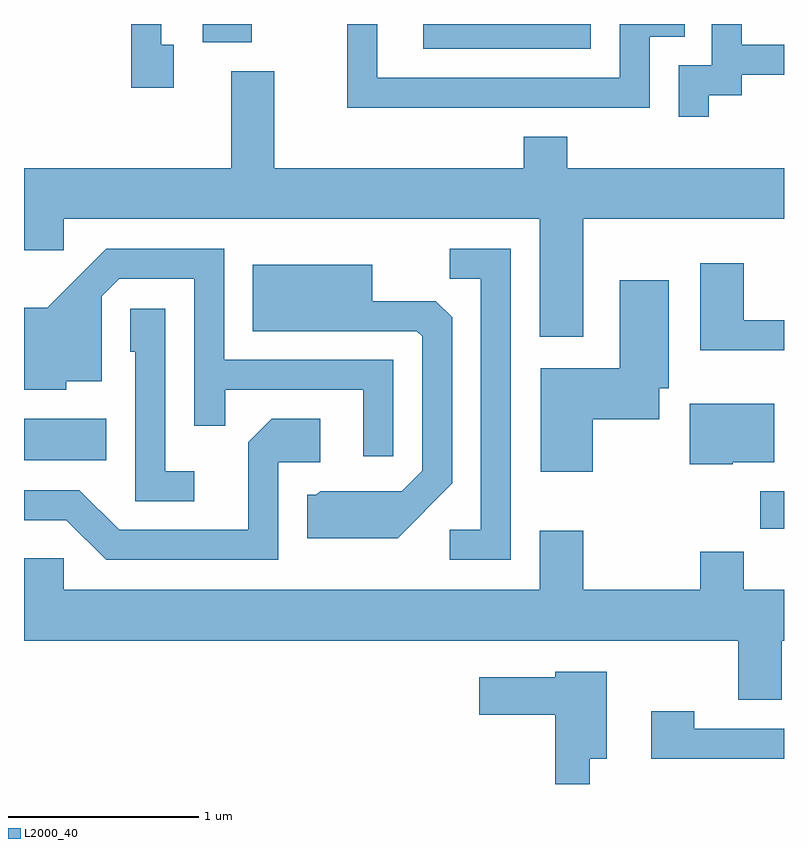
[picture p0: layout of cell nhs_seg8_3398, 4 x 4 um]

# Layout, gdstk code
import gdstk
lib = gdstk.Library(unit=1e-6, precision=1e-09)
def R(c, l, rs):  # rectangles x0, y0, x1, y1
    for r in rs: c.add(gdstk.rectangle(r[:2], r[2:], *l))
def P(c, l, *ps):  # polygons
    for p in ps: c.add(gdstk.Polygon(p, *l))
L2000_40 = (2000, 40)

nhs_seg8_3398 = lib.new_cell('nhs_seg8_3398')
R(nhs_seg8_3398, L2000_40, [(291.486,1823.686,291.611,1823.884), (287.611,1824.046,288.044,1824.264), (289.713,1826.211,290.594,1826.342), (288.551,1826.246,288.809,1826.342)])
P(nhs_seg8_3398, L2000_40, [(291.214,1825.966),(291.389,1825.966),(291.389,1826.076),(291.611,1826.076),(291.611,1826.234),(291.389,1826.234),(291.389,1826.342),(291.231,1826.342),(291.231,1826.124),(291.056,1826.124),(291.056,1825.853),(291.214,1825.853)],
  [(290.904,1826.276),(291.088,1826.276),(291.088,1826.342),(290.746,1826.342),(290.746,1826.059),(289.469,1826.059),(289.469,1826.342),(289.311,1826.342),(289.311,1825.901),(290.904,1825.901)],
  [(288.399,1826.234),(288.334,1826.234),(288.334,1826.342),(288.176,1826.342),(288.176,1826.006),(288.399,1826.006)],
  [(290.554,1825.316),(291.611,1825.316),(291.611,1825.584),(290.469,1825.584),(290.469,1825.749),(290.241,1825.749),(290.241,1825.584),(288.929,1825.584),(288.929,1826.094),(288.701,1826.094),(288.701,1825.584),(287.611,1825.584),(287.611,1825.151),(287.819,1825.151),(287.819,1825.316),(290.326,1825.316),(290.326,1824.696),(290.554,1824.696)],
  [(289.554,1824.574),(288.664,1824.574),(288.664,1825.159),(288.044,1825.159),(287.734,1824.849),(287.611,1824.849),(287.611,1824.416),(287.834,1824.416),(287.834,1824.461),(288.019,1824.461),(288.019,1824.909),(288.112,1825.001),(288.506,1825.001),(288.506,1824.228),(288.669,1824.228),(288.669,1824.416),(289.396,1824.416),(289.396,1824.068),(289.554,1824.068)],
  [(290.174,1825.159),(289.853,1825.159),(289.853,1825.001),(290.016,1825.001),(290.016,1823.679),(289.853,1823.679),(289.853,1823.521),(290.174,1823.521)],
  [(291.611,1824.784),(291.399,1824.784),(291.399,1825.084),(291.171,1825.084),(291.171,1824.626),(291.611,1824.626)],
  [(289.864,1823.924),(289.864,1824.799),(289.779,1824.884),(289.444,1824.884),(289.444,1825.074),(288.816,1825.074),(288.816,1824.726),(289.679,1824.726),(289.706,1824.699),(289.706,1823.992),(289.599,1823.884),(289.169,1823.884),(289.149,1823.864),(289.101,1823.864),(289.101,1823.636),(289.577,1823.636)],
  [(290.604,1824.261),(290.954,1824.261),(290.954,1824.426),(291.004,1824.426),(291.004,1824.994),(290.746,1824.994),(290.746,1824.529),(290.331,1824.529),(290.331,1823.986),(290.604,1823.986)],
  [(288.508,1823.989),(288.354,1823.989),(288.354,1824.844),(288.171,1824.844),(288.171,1824.616),(288.196,1824.616),(288.196,1823.831),(288.508,1823.831)],
  [(291.34,1824.036),(291.559,1824.036),(291.559,1824.344),(291.116,1824.344),(291.116,1824.026),(291.34,1824.026)],
  [(288.949,1824.036),(289.169,1824.036),(289.169,1824.264),(288.914,1824.264),(288.791,1824.142),(288.791,1823.679),(288.112,1823.679),(287.902,1823.889),(287.611,1823.889),(287.611,1823.731),(287.834,1823.731),(288.044,1823.521),(288.949,1823.521)],
  [(291.599,1823.096),(291.611,1823.096),(291.611,1823.364),(291.399,1823.364),(291.399,1823.564),(291.171,1823.564),(291.171,1823.364),(290.554,1823.364),(290.554,1823.674),(290.326,1823.674),(290.326,1823.364),(287.819,1823.364),(287.819,1823.529),(287.611,1823.529),(287.611,1823.096),(291.371,1823.096),(291.371,1822.786),(291.599,1822.786)],
  [(290.589,1822.476),(290.679,1822.476),(290.679,1822.934),(290.406,1822.934),(290.406,1822.904),(290.006,1822.904),(290.006,1822.706),(290.406,1822.706),(290.406,1822.342),(290.589,1822.342)],
  [(291.611,1822.634),(291.139,1822.634),(291.139,1822.724),(290.911,1822.724),(290.911,1822.476),(291.611,1822.476)])

lib.write_gds('nhs_seg8_3398.gds')
